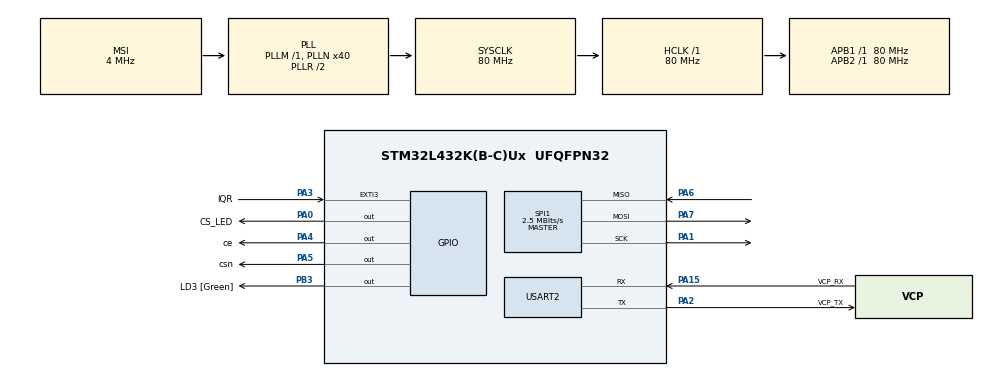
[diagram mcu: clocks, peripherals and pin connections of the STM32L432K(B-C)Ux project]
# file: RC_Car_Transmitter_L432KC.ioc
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Dma.Request0=USART2_RX
Dma.USART2_RX.0.Direction=DMA_PERIPH_TO_MEMORY
Dma.USART2_RX.0.Instance=DMA1_Channel6
Dma.USART2_RX.0.MemDataAlignment=DMA_MDATAALIGN_BYTE
Dma.USART2_RX.0.MemInc=DMA_MINC_ENABLE
Dma.USART2_RX.0.Mode=DMA_NORMAL
Dma.USART2_RX.0.PeriphDataAlignment=DMA_PDATAALIGN_BYTE
Dma.USART2_RX.0.PeriphInc=DMA_PINC_DISABLE
Dma.USART2_RX.0.Priority=DMA_PRIORITY_LOW
Mcu.Family=STM32L4
Mcu.Name=STM32L432K(B-C)Ux
Mcu.Package=UFQFPN32
NVIC.DMA1_Channel6_IRQn=true\:0\:0\:false\:false\:true\:false\:true\:true
NVIC.PriorityGroup=NVIC_PRIORITYGROUP_4
NVIC.TIM6_DAC_IRQn=true\:0\:0\:false\:false\:true\:true\:true\:true
NVIC.USART2_IRQn=true\:0\:0\:false\:false\:true\:true\:true\:true
PA0.GPIO_Label=CS_LED
PA0.PinState=GPIO_PIN_SET
PA0.Signal=GPIO_Output
PA1.Mode=Full_Duplex_Master
PA1.Signal=SPI1_SCK
PA13\ (JTMS-SWDIO).GPIO_Label=SWDIO
PA13\ (JTMS-SWDIO).Mode=Serial_Wire
PA13\ (JTMS-SWDIO).Signal=SYS_JTMS-SWDIO
PA14\ (JTCK-SWCLK).GPIO_Label=SWCLK
PA14\ (JTCK-SWCLK).Mode=Serial_Wire
PA14\ (JTCK-SWCLK).Signal=SYS_JTCK-SWCLK
PA15\ (JTDI).GPIO_Label=VCP_RX
PA15\ (JTDI).Mode=Asynchronous
PA15\ (JTDI).Signal=USART2_RX
PA2.GPIO_Label=VCP_TX
PA2.Mode=Asynchronous
PA2.Signal=USART2_TX
PA3.GPIO_Label=IQR
PA3.Signal=GPXTI3
PA4.GPIO_Label=ce
PA4.PinState=GPIO_PIN_SET
PA4.Signal=GPIO_Output
PA5.GPIO_Label=csn
PA5.PinState=GPIO_PIN_SET
PA5.Signal=GPIO_Output
PA6.Mode=Full_Duplex_Master
PA6.Signal=SPI1_MISO
PA7.Mode=Full_Duplex_Master
PA7.Signal=SPI1_MOSI
PB3\ (JTDO-TRACESWO).GPIO_Label=LD3 [Green]
PB3\ (JTDO-TRACESWO).Signal=GPIO_Output
PC14-OSC32_IN\ (PC14).Mode=LSE-External-Oscillator
PC14-OSC32_IN\ (PC14).Signal=RCC_OSC32_IN
PC15-OSC32_OUT\ (PC15).Mode=LSE-External-Oscillator
PC15-OSC32_OUT\ (PC15).Signal=RCC_OSC32_OUT
ProjectManager.HeapSize=0x200
ProjectManager.StackSize=0x400
ProjectManager.TargetToolchain=STM32CubeIDE
RCC.AHBFreq_Value=80000000
RCC.APB1Freq_Value=80000000
RCC.APB1TimFreq_Value=80000000
RCC.APB2Freq_Value=80000000
RCC.APB2TimFreq_Value=80000000
RCC.CortexFreq_Value=80000000
RCC.HCLKFreq_Value=80000000
RCC.HSE_VALUE=8000000
RCC.HSI16_VALUE=16000000
RCC.HSI48_VALUE=48000000
RCC.HSI_VALUE=16000000
RCC.MSI_VALUE=4000000
RCC.PLLMUL=RCC_PLLMUL_4
RCC.PLLN=40
RCC.SYSCLKFreq_VALUE=80000000
RCC.SYSCLKSource=RCC_SYSCLKSOURCE_PLLCLK
RCC.VCOOutputFreq_Value=160000000
SPI1.BaudRatePrescaler=SPI_BAUDRATEPRESCALER_32
SPI1.CalculateBaudRate=2.5 MBits/s
SPI1.DataSize=SPI_DATASIZE_8BIT
SPI1.Direction=SPI_DIRECTION_2LINES
SPI1.Mode=SPI_MODE_MASTER
SPI1.VirtualType=VM_MASTER
TIM6.Period=10000
TIM6.Prescaler=80-1
USART2.VirtualMode-Asynchronous=VM_ASYNC
VP_TIM6_VS_ClockSourceINT.Mode=Enable_Timer
VP_TIM7_VS_ClockSourceINT.Mode=Enable_Timer
board=NUCLEO-L432KC

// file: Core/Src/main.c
/* USER CODE BEGIN Header */
/**
  ******************************************************************************
  * @file           : main.c
  * @brief          : Main program body
  ******************************************************************************
  * @attention
  *
  * Copyright (c) 2025 STMicroelectronics.
  * All rights reserved.
  *
  * This software is licensed under terms that can be found in the LICENSE file
  * in the root directory of this software component.
  * If no LICENSE file comes with this software, it is provided AS-IS.
  *
  ******************************************************************************
  */
/* USER CODE END Header */
#include "main.h"

/* USER CODE BEGIN Includes */
#include <string.h>
#include <stdint.h>
#include <stdio.h>
#include <stdlib.h>
#include "NRF24_conf.h"
#include "NRF24_reg_addresses.h"
#include "NRF24.h"
#include "delay.h" // Include delay.h for delay functions
#include "commandReader.h"
/* USER CODE END Includes */

/* USER CODE BEGIN PTD */
#define PLD_S 32
struct UART_Comm
{
	uint8_t RxCmd[PLD_S]; // This will store the received command as a string, which will be parsed to determine the action and parameters to store under the DataToReceive structure.
	uint8_t cmdToTransmit[PLD_S]; // This will store the command to be transmitted as a string, which will be constructed from the DataToTransmit structure and sent through NRF24L01.
	uint8_t UART_Rx_Buffer[PLD_S]; // This buffer will be used for DMA reception of UART data, which will then be copied to RxCmd for processing.
	uint8_t TxData[PLD_S]; // This will store the data to be transmitted as a string, which will be constructed from the DataToTransmit structure and sent through UART.
};

struct RC_CarDataRx
{
   // Disregarding the cmd, all the variables byte size should add up to 18-20bytes
	uint8_t cmd[PLD_S]; // Will grab all the structure variables compress to string and transmit through NRF24L01
	int32_t a_x; // Store the acceleration in x-axis
    int32_t a_y; // Store the acceleration in y-axis
    int32_t a_z; // Store the acceleration in z-axis
    uint16_t distance_cm; // Store the distance measurement in centimeters
    char stationaryFlag;  // This is Flag to indicate back to the transmitter whether there is a stationary object when the car is accelerating.
    uint32_t timestamp; // in milliseconds
    uint32_t set_timer_period; // This variable will store the timer period in ticks, which is used to configure the timer interrupt frequency for tasks like sensor reading and control loop execution.

};

// Set this up for monitoring data logging reliability
struct CmRxBuffer
{
    uint8_t data[1000][32];
};
// State machine for the main loop to determine whether to transmit or receive, which will be triggered by UART reception interrupt for transmit, and timer interrupt for receive (timeout mechanism to switch back to receive mode if no data received after certain time).

typedef enum
{
    STATE_WAIT,
    STATE_TRANSMIT,
	STATE_TEST_UART,
	STATE_MICRO_DELAY_TEST,
	STATE_RECEIVE,
	STATE_SET_TRANSMIT_MODE,
	STATE_SET_RECEIVE_MODE,
	STATE_DATA_ACQUISITION,
	STATE_FORCE_RC_STOP
} FSM_State;
FSM_State current_state = STATE_WAIT; // Start in WAIT state, waiting for UART command to trigger transmit or timer interrupt to trigger receive
/* USER CODE END PTD */

SPI_HandleTypeDef hspi1;

TIM_HandleTypeDef htim6;
TIM_HandleTypeDef htim7;

UART_HandleTypeDef huart2;
DMA_HandleTypeDef hdma_usart2_rx;

/* USER CODE BEGIN PV */

//////  Commands Declarations  //////////////////////////////////////
struct RC_CarDataRx RC_Data = {.set_timer_period = 12500};
struct UART_Comm Msg = {0}; // This initializes all members to 0
struct CmRxBuffer CmRxBuffer = {0}; // This initializes all members to 0

/* LED SPI Control */
#define OFF_LED_EXT     0x00
#define BLUE_LED_EXT    0x01
#define YELLOW_LED_EXT  0x02
#define GREEN_LED_EXT   0x04
#define RED_LED_EXT     0x08

// Payload Size

/* nRF24L01+ SPI Control */
uint8_t tx_addr[5] = {0x45, 0x55, 0x67, 0x10, 0x21};
uint16_t data = 0;
uint8_t toggleFlag = 0;
uint8_t cmdFlag = 0; // This flag is used to indicate whether a valid command has been received through UART, which will trigger the transition to transmit state in the main loop.

// For UART DMA reception
uint8_t UART2_rxBuffer[PLD_S]; // DMA buffer

/* USER CODE END PV */

void SystemClock_Config(void);
static void MX_GPIO_Init(void);
static void MX_DMA_Init(void);
static void MX_SPI1_Init(void);
static void MX_USART2_UART_Init(void);
static void MX_TIM6_Init(void);
static void MX_TIM7_Init(void);
/* USER CODE BEGIN PFP */
void nrf24_setup(void);
void shift_register_send(uint8_t data);

/* USER CODE END PFP */

/* USER CODE BEGIN 0 */
//  Set up NRF24L01

int k =0; // This is increment for the storing the data in the CmRxBuffer for monitoring data logging reliability, which will store up to 1000 received data packets for later retrieval and analysis.
/* USER CODE END 0 */

int main(void)
{

  /* MCU Configuration--------------------------------------------------------*/

  /* Reset of all peripherals, Initializes the Flash interface and the Systick. */
  HAL_Init();

  /* Configure the system clock */
  SystemClock_Config();

  /* Initialize all configured peripherals */
  MX_GPIO_Init();
  MX_DMA_Init();
  MX_SPI1_Init();
  MX_USART2_UART_Init();
  MX_TIM6_Init();
  MX_TIM7_Init();
  /* USER CODE BEGIN 2 */

  HAL_UART_Receive_DMA(&huart2, Msg.UART_Rx_Buffer, PLD_S); // Start UART reception in DMA mode, storing received data in the buffer for processing

  // Start Timer 6 in interrupt mode for LED toggling
  HAL_TIM_Base_Start_IT(&htim6);

  //  Set up NRF24L01
  shift_register_send(OFF_LED_EXT); // Only LED A ON
  HAL_Delay(500);
  shift_register_send(BLUE_LED_EXT); // Only LED A ON

  nrf24_setup();

  shift_register_send(OFF_LED_EXT); // Only LED A ON
  HAL_Delay(500);
//  uint16_t t = 500-1; // 50 microseconds delay for testing
  uint16_t t = adjusteTimeForTicks(500); // Adjust 50 microseconds to timer ticks
  uint8_t forceStop[PLD_S] = "C,0";
  memset(forceStop + strlen((char *)forceStop), '\0', PLD_S - strlen((char *)forceStop) - 1);
  forceStop[PLD_S - 1] = '\n';
  uint8_t forceStopFlag = 0; // This flag is used to indicate whether the force stop command has been sent, which will trigger the transmission of the force stop command to the RC car through NRF24L01 in the transmit state of the main loop when it reaches 1000 data points stored in the buffer, ensuring that we only send the force stop command once after reaching 1000 data points to prevent continuous transmission of the force stop command.

  /* USER CODE END 2 */

  /* Infinite loop */
  while (1)
  {

    /* USER CODE BEGIN 3 */
	  switch (current_state)
	  {
	  case STATE_WAIT:
		  // Just wait firm-ever :)
		  // Just had to be very cheesey :p
		  break;
	  case STATE_MICRO_DELAY_TEST:
		  // will blink the red led for 50us using the timer 7, which is configured to count microseconds, to test the microsecond delay functionality.
		  shift_register_send(RED_LED_EXT); // Only LED A ON
		  delay_us(t); // Delay for 50 microseconds
		  shift_register_send(OFF_LED_EXT); // Only LED A ON
		  delay_us(t); // Delay for 500 microseconds
		  break;

	  case STATE_TEST_UART:
		  // Here I will print a message to test UART functionality
		  char* test_msg = "UART DMA RX Test Successful!\r\n";
		  HAL_UART_Transmit(&huart2, (uint8_t*)test_msg, strlen(test_msg), HAL_MAX_DELAY);
		  HAL_Delay(1000);
//		  current_state = STATE_WAIT; // Return to WAIT state
		  break;
	  case STATE_SET_TRANSMIT_MODE:
		  // This state is for testing the transition to transmit mode, which will be triggered by UART reception interrupt. It will set the current state to TRANSMIT, and the main loop will handle the actual data transmission through NRF24L01 in the TRANSMIT case.
		  shift_register_send(YELLOW_LED_EXT); // Turn on LED when waiting for data, indicating timeout if it stays on for too long
		  nrf24_stop_listen();
		  delay_us(t); // Delay for 500 microseconds
		  current_state = STATE_TRANSMIT;
		  break;

	  case STATE_SET_RECEIVE_MODE:
		  // This state is for testing the transition to receive mode, which will be triggered by the timer interrupt for timeout. It will set the current state to RECEIVE, and the main loop will handle the actual data reception through NRF24L01 in the RECEIVE case.
		  shift_register_send(BLUE_LED_EXT); // Turn off LED after timeout, indicating ready to receive data again
		  nrf24_listen(); // Switch back to listen mode to wait for data again
		  delay_us(t); // Delay for 500 microseconds
		  current_state = STATE_RECEIVE;
		  break;

	  case STATE_RECEIVE:
		  // After transmitting data, the nRF24L01+ will switch to receive mode to wait for the RC car data,
		  // I'm gonna test the polling method.
		  if (nrf24_data_available())
		  {
			  shift_register_send(BLUE_LED_EXT | RED_LED_EXT); // Turn on LED when receiving
			  char RxData[PLD_S] = {0};
			  memset(RC_Data.cmd, 0, PLD_S); // Clear the buffer
			  nrf24_receive(RC_Data.cmd, sizeof(RC_Data.cmd));
			  nrf24_clear_rx_dr(); // Clear the RX_DR flag after receiving data
			  memcpy(RxData, RC_Data.cmd, PLD_S);
			  uint8_t comma_index = 0;
			  char timeStamp_str[16] = {0};
			  char distance_str[16] = {0};
			  char a_x_str[16] = {0};
			  char a_y_str[16] = {0};
			  char a_z_str[16] = {0};
			  parse_uart_value(RxData, timeStamp_str,&comma_index);
			  parse_uart_value(RxData, distance_str,&comma_index);
			  parse_uart_value(RxData, a_x_str,&comma_index);
			  parse_uart_value(RxData, a_y_str,&comma_index);
			  parse_uart_value(RxData, a_z_str,&comma_index);
			  // The data received will be converted to the corresponding data type and stored in the Receive structure for further processing or decision making.
			  // For troubleshooting purpose.
			  RC_Data.timestamp = (uint32_t)atoi(timeStamp_str);
			  RC_Data.distance_cm = (uint16_t)atoi(distance_str);
			  RC_Data.a_x = (int32_t)atoi(a_x_str);
			  RC_Data.a_y = (int32_t)atoi(a_y_str);
			  RC_Data.a_z = (int32_t)atoi(a_z_str);
			  // Transmit the data to UART TX, so gui can read the data through serial communication and display it on the GUI.
//			  uint16_t len = snprintf((char *)Msg.TxData, sizeof(Msg.TxData), "Timestamp: %lu ms, Distance: %u cm,"
//					  " Acceleration: (%ld, %ld, %ld) mg\r\n", Receive.timestamp, Receive.distance_cm,
//					  Receive.a_x, Receive.a_y, Receive.a_z);
			  // Send the Receive.cmd
			  memcpy(Msg.TxData, RC_Data.cmd, PLD_S);
			  // Send the data to UART TX for monitoring the received data in real-time, which will allow us to verify the data reception and also monitor the data logging reliability by checking the received data on the GUI in real-time as it is being stored in the buffer, ensuring that we can identify any potential issues with data reception or logging as they occur.
			  HAL_UART_Transmit(&huart2, RC_Data.cmd, PLD_S, HAL_MAX_DELAY);

			  current_state = STATE_WAIT; // Go back to wait state after receiving data
//			  current_state = STATE_DATA_ACQUISITION; // Switch to data acquisition state to store the received data in the buffer for monitoring data logging reliability

		  }
		  // Stay in receive mode while waiting for data

		  break;

	  case STATE_TRANSMIT:
		  if(cmdFlag == 1) // Check if a valid command has been received through UART, which will trigger the data transmission through NRF24L01. This ensures that we only transmit when there is new data to send, and prevents continuous transmission in the transmit state.
		  {
			  shift_register_send(YELLOW_LED_EXT | GREEN_LED_EXT); // Only LED A ON
			  nrf24_transmit(Msg.RxCmd, sizeof(Msg.RxCmd));
			  cmdFlag = 0; // Reset the command flag after transmitting, so it will wait for the next valid command to trigger the next transmission.
		  }
		  else if (forceStopFlag == 1)
		  {
			  shift_register_send(YELLOW_LED_EXT | GREEN_LED_EXT); // Only LED A ON
			  nrf24_transmit(forceStop, sizeof(forceStop));
			  current_state = STATE_SET_RECEIVE_MODE; // After sending the force stop command, switch back to receive mode to wait for any further data from the RC car, which will allow us to monitor whether the RC car has stopped successfully after receiving the force stop command, and also prevent continuous transmission of the force stop command in the transmit state.
//			  forceStopFlag = 0; // Reset the force stop flag after transmitting, so it will wait for the next valid command to trigger the next transmission.
		  }
//		  current_state = STATE_WAIT;
		  break;

	  case STATE_DATA_ACQUISITION:
		  // This state is for testing the data acquisition from the RC car.
		  // Once the data is received, it will get stored in the CmRxBuffer so by the time it receives
		  // 1000 data points it will stop and go back to the wait state and will also debug to check.
		  // Store the receive data in the buffer.
		  if (k < 1000)
		  {

			  memcpy(CmRxBuffer.data[k], RC_Data.cmd, PLD_S);
			  k++;
			  // Send the data to UART TX for monitoring the received data in real-time, which will allow us to verify the data reception and also monitor the data logging reliability by checking the received data on the GUI in real-time as it is being stored in the buffer, ensuring that we can identify any potential issues with data reception or logging as they occur.
			  HAL_UART_Transmit(&huart2, RC_Data.cmd, PLD_S, HAL_MAX_DELAY);

			  current_state = STATE_WAIT; // Stay in receive state to continue receiving data until we have 1000 data points tored in the buffer
		  }
		  else if (k == 1000)
		  {
			  current_state = STATE_FORCE_RC_STOP; // After storing 1000 data points, switch to force stop state to send the stop command to the RC car, which will trigger the RC car to stop and prevent any further data transmission from the RC car, ensuring that we only have 1000 data points stored in the buffer for analysis.
		  }
		  else
		  {
		  	current_state = STATE_WAIT; // After storing 1000 data points, switch back to wait state
		  }

		  break;

	  case STATE_FORCE_RC_STOP:
		  // This state forces the RC car to stop soon as it reaches 1000 points.
		  forceStopFlag = 1; // Set the force stop flag to indicate that the force stop command should be sent in the transmit state of the main loop, which will trigger the transmission of the force stop command to the RC car through NRF24L01 in the transmit state of the main loop when it reaches 1000 data points stored in the buffer, ensuring that we only send the force stop command once after reaching 1000 data points to prevent continuous transmission of the force stop command.

		  break;

	  }
  }
  /* USER CODE END 3 */
}

void SystemClock_Config(void)
{
  RCC_OscInitTypeDef RCC_OscInitStruct = {0};
  RCC_ClkInitTypeDef RCC_ClkInitStruct = {0};

  /** Configure the main internal regulator output voltage
  */
  if (HAL_PWREx_ControlVoltageScaling(PWR_REGULATOR_VOLTAGE_SCALE1) != HAL_OK)
  {
    Error_Handler();
  }

  /** Configure LSE Drive Capability
  */
  HAL_PWR_EnableBkUpAccess();
  __HAL_RCC_LSEDRIVE_CONFIG(RCC_LSEDRIVE_LOW);

  /** Initializes the RCC Oscillators according to the specified parameters
  * in the RCC_OscInitTypeDef structure.
  */
  RCC_OscInitStruct.OscillatorType = RCC_OSCILLATORTYPE_LSE|RCC_OSCILLATORTYPE_MSI;
  RCC_OscInitStruct.LSEState = RCC_LSE_ON;
  RCC_OscInitStruct.MSIState = RCC_MSI_ON;
  RCC_OscInitStruct.MSICalibrationValue = 0;
  RCC_OscInitStruct.MSIClockRange = RCC_MSIRANGE_6;
  RCC_OscInitStruct.PLL.PLLState = RCC_PLL_ON;
  RCC_OscInitStruct.PLL.PLLSource = RCC_PLLSOURCE_MSI;
  RCC_OscInitStruct.PLL.PLLM = 1;
  RCC_OscInitStruct.PLL.PLLN = 40;
  RCC_OscInitStruct.PLL.PLLP = RCC_PLLP_DIV7;
  RCC_OscInitStruct.PLL.PLLQ = RCC_PLLQ_DIV2;
  RCC_OscInitStruct.PLL.PLLR = RCC_PLLR_DIV2;
  if (HAL_RCC_OscConfig(&RCC_OscInitStruct) != HAL_OK)
  {
    Error_Handler();
  }

  /** Initializes the CPU, AHB and APB buses clocks
  */
  RCC_ClkInitStruct.ClockType = RCC_CLOCKTYPE_HCLK|RCC_CLOCKTYPE_SYSCLK
                              |RCC_CLOCKTYPE_PCLK1|RCC_CLOCKTYPE_PCLK2;
  RCC_ClkInitStruct.SYSCLKSource = RCC_SYSCLKSOURCE_PLLCLK;
  RCC_ClkInitStruct.AHBCLKDivider = RCC_SYSCLK_DIV1;
  RCC_ClkInitStruct.APB1CLKDivider = RCC_HCLK_DIV1;
  RCC_ClkInitStruct.APB2CLKDivider = RCC_HCLK_DIV1;

  if (HAL_RCC_ClockConfig(&RCC_ClkInitStruct, FLASH_LATENCY_4) != HAL_OK)
  {
    Error_Handler();
  }

  /** Enable MSI Auto calibration
  */
  HAL_RCCEx_EnableMSIPLLMode();
}

static void MX_SPI1_Init(void)
{

  /* SPI1 parameter configuration*/
  hspi1.Instance = SPI1;
  hspi1.Init.Mode = SPI_MODE_MASTER;
  hspi1.Init.Direction = SPI_DIRECTION_2LINES;
  hspi1.Init.DataSize = SPI_DATASIZE_8BIT;
  hspi1.Init.CLKPolarity = SPI_POLARITY_LOW;
  hspi1.Init.CLKPhase = SPI_PHASE_1EDGE;
  hspi1.Init.NSS = SPI_NSS_SOFT;
  hspi1.Init.BaudRatePrescaler = SPI_BAUDRATEPRESCALER_32;
  hspi1.Init.FirstBit = SPI_FIRSTBIT_MSB;
  hspi1.Init.TIMode = SPI_TIMODE_DISABLE;
  hspi1.Init.CRCCalculation = SPI_CRCCALCULATION_DISABLE;
  hspi1.Init.CRCPolynomial = 7;
  hspi1.Init.CRCLength = SPI_CRC_LENGTH_DATASIZE;
  hspi1.Init.NSSPMode = SPI_NSS_PULSE_ENABLE;
  if (HAL_SPI_Init(&hspi1) != HAL_OK)
  {
    Error_Handler();
  }

}

static void MX_TIM6_Init(void)
{

  TIM_MasterConfigTypeDef sMasterConfig = {0};

  htim6.Instance = TIM6;
  htim6.Init.Prescaler = 80-1;
  htim6.Init.CounterMode = TIM_COUNTERMODE_UP;
  htim6.Init.Period = RC_Data.set_timer_period-1;
  htim6.Init.AutoReloadPreload = TIM_AUTORELOAD_PRELOAD_DISABLE;
  if (HAL_TIM_Base_Init(&htim6) != HAL_OK)
  {
    Error_Handler();
  }
  sMasterConfig.MasterOutputTrigger = TIM_TRGO_RESET;
  sMasterConfig.MasterSlaveMode = TIM_MASTERSLAVEMODE_DISABLE;
  if (HAL_TIMEx_MasterConfigSynchronization(&htim6, &sMasterConfig) != HAL_OK)
  {
    Error_Handler();
  }
  /* USER CODE BEGIN TIM6_Init 2 */
  /* Enable TIM6 global interrupt */
  HAL_NVIC_SetPriority(TIM6_DAC_IRQn, 0, 0);
  HAL_NVIC_EnableIRQ(TIM6_DAC_IRQn);
  /* USER CODE END TIM6_Init 2 */

}

static void MX_TIM7_Init(void)
{

  TIM_MasterConfigTypeDef sMasterConfig = {0};

  htim7.Instance = TIM7;
  htim7.Init.Prescaler = 0;
  htim7.Init.CounterMode = TIM_COUNTERMODE_UP;
  htim7.Init.Period = 65535;
  htim7.Init.AutoReloadPreload = TIM_AUTORELOAD_PRELOAD_DISABLE;
  if (HAL_TIM_Base_Init(&htim7) != HAL_OK)
  {
    Error_Handler();
  }
  sMasterConfig.MasterOutputTrigger = TIM_TRGO_RESET;
  sMasterConfig.MasterSlaveMode = TIM_MASTERSLAVEMODE_DISABLE;
  if (HAL_TIMEx_MasterConfigSynchronization(&htim7, &sMasterConfig) != HAL_OK)
  {
    Error_Handler();
  }

}

static void MX_USART2_UART_Init(void)
{

  huart2.Instance = USART2;
  huart2.Init.BaudRate = 115200;
  huart2.Init.WordLength = UART_WORDLENGTH_8B;
  huart2.Init.StopBits = UART_STOPBITS_1;
  huart2.Init.Parity = UART_PARITY_NONE;
  huart2.Init.Mode = UART_MODE_TX_RX;
  huart2.Init.HwFlowCtl = UART_HWCONTROL_NONE;
  huart2.Init.OverSampling = UART_OVERSAMPLING_16;
  huart2.Init.OneBitSampling = UART_ONE_BIT_SAMPLE_DISABLE;
  huart2.AdvancedInit.AdvFeatureInit = UART_ADVFEATURE_NO_INIT;
  if (HAL_UART_Init(&huart2) != HAL_OK)
  {
    Error_Handler();
  }

}

static void MX_DMA_Init(void)
{

  /* DMA controller clock enable */
  __HAL_RCC_DMA1_CLK_ENABLE();

  /* DMA interrupt init */
  /* DMA1_Channel6_IRQn interrupt configuration */
  HAL_NVIC_SetPriority(DMA1_Channel6_IRQn, 0, 0);
  HAL_NVIC_EnableIRQ(DMA1_Channel6_IRQn);

}

static void MX_GPIO_Init(void)
{
  GPIO_InitTypeDef GPIO_InitStruct = {0};

  /* GPIO Ports Clock Enable */
  __HAL_RCC_GPIOC_CLK_ENABLE();
  __HAL_RCC_GPIOA_CLK_ENABLE();
  __HAL_RCC_GPIOB_CLK_ENABLE();

  /*Configure GPIO pin Output Level */
  HAL_GPIO_WritePin(GPIOA, CS_LED_Pin|ce_Pin|csn_Pin, GPIO_PIN_SET);

  /*Configure GPIO pin Output Level */
  HAL_GPIO_WritePin(LD3_GPIO_Port, LD3_Pin, GPIO_PIN_RESET);

  /*Configure GPIO pins : CS_LED_Pin ce_Pin csn_Pin */
  GPIO_InitStruct.Pin = CS_LED_Pin|ce_Pin|csn_Pin;
  GPIO_InitStruct.Mode = GPIO_MODE_OUTPUT_PP;
  GPIO_InitStruct.Pull = GPIO_NOPULL;
  GPIO_InitStruct.Speed = GPIO_SPEED_FREQ_LOW;
  HAL_GPIO_Init(GPIOA, &GPIO_InitStruct);

  /*Configure GPIO pin : IQR_Pin */
  GPIO_InitStruct.Pin = IQR_Pin;
  GPIO_InitStruct.Mode = GPIO_MODE_IT_RISING;
  GPIO_InitStruct.Pull = GPIO_NOPULL;
  HAL_GPIO_Init(IQR_GPIO_Port, &GPIO_InitStruct);

  /*Configure GPIO pin : LD3_Pin */
  GPIO_InitStruct.Pin = LD3_Pin;
  GPIO_InitStruct.Mode = GPIO_MODE_OUTPUT_PP;
  GPIO_InitStruct.Pull = GPIO_NOPULL;
  GPIO_InitStruct.Speed = GPIO_SPEED_FREQ_LOW;
  HAL_GPIO_Init(LD3_GPIO_Port, &GPIO_InitStruct);

}

/* USER CODE BEGIN 4 */

void HAL_TIM_PeriodElapsedCallback(TIM_HandleTypeDef *htim)
{
	if(htim->Instance == TIM6)
	{
		// Timer toggles every 10ms
		// Use this for timeout mechanism when waiting for receive data
		if (toggleFlag == 0)
		{
			// To switch to transmitt state
			toggleFlag = 1;
			// After setting listen mode, it will go to wait until there is UART interrupt to switch to transmit state, or there is data received through NRF24L01 to switch to receive state.
			current_state = STATE_SET_TRANSMIT_MODE; // Switch to receive state to wait for data after timeout

		}
		else if (toggleFlag == 1)
		{
			// to switch to receive state
			toggleFlag = 0;
			current_state = STATE_SET_RECEIVE_MODE; // Switch to receive state to wait for data after timeout
		}
	}
}

void HAL_GPIO_EXTI_Callback(uint16_t GPIO_Pin)
{
    if (GPIO_Pin == IQR_Pin)
    {
		// IRQ interrupt handling for the NRF24L01
    	// When in receive mode and data arrives, the IRQ pin will trigger this interrupt
    	// This allows immediate data reception without waiting for polling
    	if (current_state == STATE_RECEIVE)
    	{
    		// The IRQ indicates data is ready in RX FIFO
    		// The main loop will handle the actual data reception
    		// We just ensure we stay in RECEIVE state to process it
    		toggleFlag = 0; // Reset timeout counter since we got an IRQ
    	}
    }

}

void HAL_UART_RxCpltCallback(UART_HandleTypeDef *huart)
{
    if (huart->Instance == USART2)
    {
    	shift_register_send(GREEN_LED_EXT);
    	// Copy the received data to your message buffer
        memcpy(Msg.RxCmd, Msg.UART_Rx_Buffer, PLD_S);
        // Restart DMA reception for next message
        HAL_UART_Receive_DMA(&huart2, Msg.UART_Rx_Buffer, PLD_S);
		shift_register_send(OFF_LED_EXT); // Only LED A ON
		cmdFlag = 1; // Set the command flag to indicate a valid command has been received, which will trigger the transition to transmit state in the main loop.
		current_state = STATE_TRANSMIT;
    }
}

void shift_register_send(uint8_t data)
{
	HAL_GPIO_WritePin(CS_LED_GPIO_Port, CS_LED_Pin, GPIO_PIN_RESET);
	HAL_SPI_Transmit(&hspi1, &data, 1, HAL_MAX_DELAY);
	HAL_GPIO_WritePin(CS_LED_GPIO_Port, CS_LED_Pin, GPIO_PIN_SET);
}

void nrf24_setup(void)
{
	// Add your NRF24L01 setup code here if needed
	  ce_high();

	  HAL_Delay(5);

	  ce_low();

	  nrf24_init();

	  nrf24_stop_listen();

	  nrf24_auto_ack_all(auto_ack);
	  nrf24_en_ack_pld(disable);
	  nrf24_dpl(disable);

	  nrf24_set_crc(no_crc, _1byte);

	  nrf24_tx_pwr(_0dbm);
	  nrf24_data_rate(_1mbps);
	  nrf24_set_channel(90);
	  nrf24_set_addr_width(5);

	  nrf24_set_rx_dpl(0, disable);
	  nrf24_set_rx_dpl(1, disable);
	  nrf24_set_rx_dpl(2, disable);
	  nrf24_set_rx_dpl(3, disable);
	  nrf24_set_rx_dpl(4, disable);
	  nrf24_set_rx_dpl(5, disable);

	  nrf24_pipe_pld_size(0, PLD_S);

	  nrf24_auto_retr_delay(4);
	  nrf24_auto_retr_limit(10);

	  nrf24_open_tx_pipe(tx_addr);
	  nrf24_open_rx_pipe(0, tx_addr);
	  ce_high();

}
/* USER CODE END 4 */

void Error_Handler(void)
{
  __disable_irq();
  while (1)
  {
  }
}
